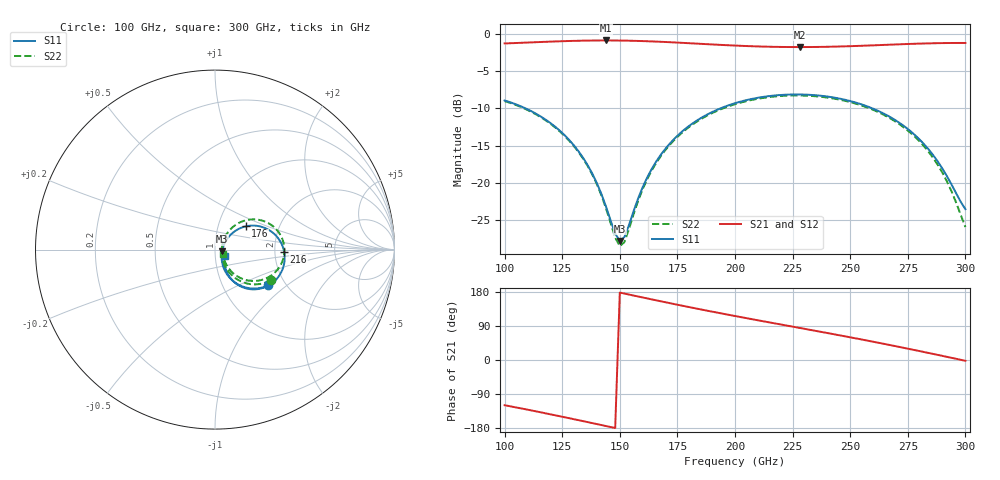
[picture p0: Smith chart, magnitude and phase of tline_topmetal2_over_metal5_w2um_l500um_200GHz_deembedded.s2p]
! Created with skrf 2.0.1 (http://scikit-rf.org).
# GHz S DB R 50.0
!freq dBS11 angS11 dBS21 angS21 dBS12 angS12 dBS22 angS22
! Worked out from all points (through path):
!   101 points, 100 GHz to 300 GHz, reference 50 ohm
!   highest |S21| = -0.83 dB at 144 GHz (marker M1); lowest = -1.7 dB at 228 GHz (marker M2)
!   group delay of S21, straight-line fit = 3.33 ps
!   lowest |S11| = -27.9 dB at 150 GHz (marker M3), VSWR 1.08, Z = 54.1 - j1.08 ohm
!   |S11| at or under -10 dB: 109.2 GHz to 193.6 GHz (84.43 GHz wide, 55.8 % of centre); 259.7 GHz to end of sweep
!   |S22| runs from -28.6 to -8.2 dB; largest |S21 - S12| = 1.1e-14
!   S11 on the Smith chart (normalised r, x): 100 GHz: 1.64, -0.75; 176 GHz: 1.35, +0.37; 216 GHz: 2.25, -0.06; 300 GHz: 1.11, -0.08
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100  -8.92 -33.8  -1.23 -119.3  -1.23 -119.3  -9.01 -28.8
120  -11.99 -54.0  -0.99 -143.5  -0.99 -143.5  -12.09 -48.2
134  -16.62 -64.4  -0.86 -161.3  -0.86 -161.3  -16.73 -58.3
140  -20.04 -63.8  -0.83 -169.0  -0.83 -169.0  -20.19 -57.9
144  -23.22 -56.9  -0.83 -174.3  -0.83 -174.3  -23.46 -51.5
148  -26.87 -34.7  -0.84 -179.5  -0.84 -179.5  -27.40 -29.3
150  -27.85 -14.2  -0.84 177.9  -0.84 177.9  -28.56 -7.5
152  -27.32 7.5  -0.85 175.3  -0.85 175.3  -28.01 16.1
162  -19.23 43.2  -0.94 162.3  -0.94 162.3  -19.46 52.9
168  -16.15 42.6  -1.01 154.7  -1.01 154.7  -16.33 52.2
176  -13.39 37.2  -1.13 144.7  -1.13 144.7  -13.54 47.0
186  -11.15 28.1  -1.30 132.5  -1.30 132.5  -11.29 38.2
200  -9.29 14.3  -1.52 116.1  -1.52 116.1  -9.43 24.8
216  -8.29 -1.6  -1.68 98.0  -1.68 98.0  -8.42 9.4
228  -8.11 -13.5  -1.72 84.7  -1.72 84.7  -8.25 -2.2
234  -8.19 -19.4  -1.71 78.0  -1.71 78.0  -8.33 -8.0
252  -9.17 -37.0  -1.58 57.6  -1.58 57.6  -9.31 -25.4
268  -11.27 -51.9  -1.39 38.5  -1.39 38.5  -11.45 -40.7
278  -13.56 -59.4  -1.28 26.2  -1.28 26.2  -13.79 -49.1
286  -16.29 -62.3  -1.21 16.0  -1.21 16.0  -16.66 -53.5
292  -19.13 -59.2  -1.18 8.3  -1.18 8.3  -19.83 -52.6
300  -23.58 -34.0  -1.17 -2.1  -1.17 -2.1  -25.99 -27.8
